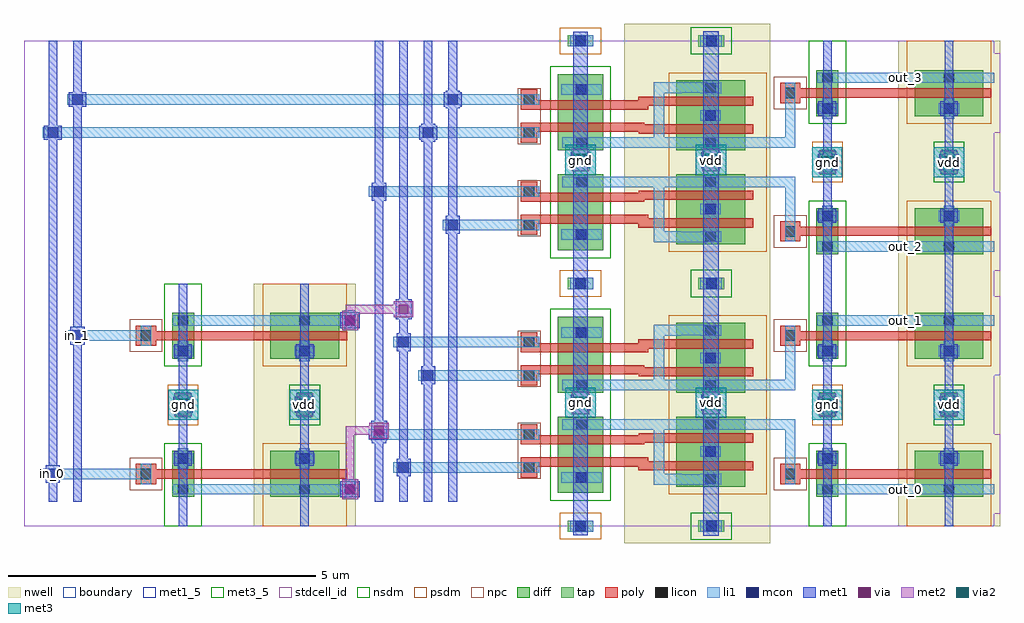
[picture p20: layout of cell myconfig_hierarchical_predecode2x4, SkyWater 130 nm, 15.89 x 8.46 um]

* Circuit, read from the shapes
.subckt myconfig_hierarchical_predecode2x4 gnd in_0 in_1 out_0 out_1 out_2 out_3 vdd
XM1 gnd in_0 myconfig_and2_dec_2/A gnd sky130_fd_pr__nfet_01v8 w=0.36 l=0.15
XM2 myconfig_and2_dec_2/B in_1 gnd gnd sky130_fd_pr__nfet_01v8 w=0.36 l=0.15
XM3 n1 myconfig_and2_dec_2/B gnd gnd sky130_fd_pr__nfet_01v8 w=0.74 l=0.15
XM4 myconfig_and2_dec_2/myconfig_pinv_dec_1/A myconfig_and2_dec_2/A n1 gnd sky130_fd_pr__nfet_01v8 w=0.74 l=0.15
XM5 n2 in_0 myconfig_and2_dec_3/myconfig_pinv_dec_1/A gnd sky130_fd_pr__nfet_01v8 w=0.74 l=0.15
XM6 gnd myconfig_and2_dec_2/B n2 gnd sky130_fd_pr__nfet_01v8 w=0.74 l=0.15
XM7 n3 in_1 gnd gnd sky130_fd_pr__nfet_01v8 w=0.74 l=0.15
XM8 myconfig_and2_dec_4/myconfig_pinv_dec_1/A myconfig_and2_dec_2/A n3 gnd sky130_fd_pr__nfet_01v8 w=0.74 l=0.15
XM9 n4 in_0 myconfig_and2_dec_5/myconfig_pinv_dec_1/A gnd sky130_fd_pr__nfet_01v8 w=0.74 l=0.15
XM10 gnd in_1 n4 gnd sky130_fd_pr__nfet_01v8 w=0.74 l=0.15
XM11 gnd myconfig_and2_dec_2/myconfig_pinv_dec_1/A out_0 gnd sky130_fd_pr__nfet_01v8 w=0.36 l=0.15
XM12 out_1 myconfig_and2_dec_3/myconfig_pinv_dec_1/A gnd gnd sky130_fd_pr__nfet_01v8 w=0.36 l=0.15
XM13 gnd myconfig_and2_dec_4/myconfig_pinv_dec_1/A out_2 gnd sky130_fd_pr__nfet_01v8 w=0.36 l=0.15
XM14 out_3 myconfig_and2_dec_5/myconfig_pinv_dec_1/A gnd gnd sky130_fd_pr__nfet_01v8 w=0.36 l=0.15
XM15 vdd in_0 myconfig_and2_dec_2/A vdd sky130_fd_pr__pfet_01v8 w=1.12 l=0.15
XM16 myconfig_and2_dec_2/B in_1 vdd vdd sky130_fd_pr__pfet_01v8 w=1.12 l=0.15
XM17 vdd myconfig_and2_dec_2/B myconfig_and2_dec_2/myconfig_pinv_dec_1/A vdd sky130_fd_pr__pfet_01v8 w=1.12 l=0.15
XM18 myconfig_and2_dec_2/myconfig_pinv_dec_1/A myconfig_and2_dec_2/A vdd vdd sky130_fd_pr__pfet_01v8 w=1.12 l=0.15
XM19 vdd in_0 myconfig_and2_dec_3/myconfig_pinv_dec_1/A vdd sky130_fd_pr__pfet_01v8 w=1.12 l=0.15
XM20 myconfig_and2_dec_3/myconfig_pinv_dec_1/A myconfig_and2_dec_2/B vdd vdd sky130_fd_pr__pfet_01v8 w=1.12 l=0.15
XM21 vdd in_1 myconfig_and2_dec_4/myconfig_pinv_dec_1/A vdd sky130_fd_pr__pfet_01v8 w=1.12 l=0.15
XM22 myconfig_and2_dec_4/myconfig_pinv_dec_1/A myconfig_and2_dec_2/A vdd vdd sky130_fd_pr__pfet_01v8 w=1.12 l=0.15
XM23 vdd in_0 myconfig_and2_dec_5/myconfig_pinv_dec_1/A vdd sky130_fd_pr__pfet_01v8 w=1.12 l=0.15
XM24 myconfig_and2_dec_5/myconfig_pinv_dec_1/A in_1 vdd vdd sky130_fd_pr__pfet_01v8 w=1.12 l=0.15
XM25 vdd myconfig_and2_dec_2/myconfig_pinv_dec_1/A out_0 vdd sky130_fd_pr__pfet_01v8 w=1.12 l=0.15
XM26 out_1 myconfig_and2_dec_3/myconfig_pinv_dec_1/A vdd vdd sky130_fd_pr__pfet_01v8 w=1.12 l=0.15
XM27 vdd myconfig_and2_dec_4/myconfig_pinv_dec_1/A out_2 vdd sky130_fd_pr__pfet_01v8 w=1.12 l=0.15
XM28 out_3 myconfig_and2_dec_5/myconfig_pinv_dec_1/A vdd vdd sky130_fd_pr__pfet_01v8 w=1.12 l=0.15
.ends

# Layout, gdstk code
from math import pi, radians
import gdstk
lib = gdstk.Library(unit=1e-6, precision=1e-09)
def R(c, l, rs):  # rectangles x0, y0, x1, y1
    for r in rs: c.add(gdstk.rectangle(r[:2], r[2:], *l))
def A(c, l, x, y, w, h, nx, ny, dx, dy):  # array of equal rectangles
    R(c, l, [(x+i*dx, y+j*dy, x+i*dx+w, y+j*dy+h) for i in range(nx) for j in range(ny)])
nwell = (64, 20)
diff = (65, 20)
tap = (65, 44)
poly = (66, 20)
licon = (66, 44)
li1 = (67, 20)
mcon = (67, 44)
met1_5 = (68, 5)
met1 = (68, 20)
via = (68, 44)
met2 = (69, 20)
via2 = (69, 44)
met3_5 = (70, 5)
met3 = (70, 20)
stdcell_id = (81, 4)
nsdm = (93, 44)
psdm = (94, 20)
npc = (95, 20)
boundary = (235, 4)

myconfig_contact_11 = lib.new_cell('myconfig_contact_11')
R(myconfig_contact_11, nwell, [(-0.295,-0.255,0.545,0.585)])
R(myconfig_contact_11, diff, [(0,0.02,0.25,0.31)])
R(myconfig_contact_11, licon, [(0.04,0.08,0.21,0.25)])
R(myconfig_contact_11, li1, [(0.04,0,0.21,0.33)])
R(myconfig_contact_11, stdcell_id, [(-0.295,-0.255,0.545,0.585)])
R(myconfig_contact_11, psdm, [(-0.125,-0.105,0.375,0.435)])
R(myconfig_contact_11, boundary, [(-0.295,-0.255,0.545,0.585)])

myconfig_pmos_m1_w1_120_ = lib.new_cell('myconfig_pmos_m1_w1_120_sli_dli_da_p')
R(myconfig_pmos_m1_w1_120_, nwell, [(-0.27,-0.27,1.02,1.39)])
R(myconfig_pmos_m1_w1_120_, diff, [(0,0,0.75,1.12)])
R(myconfig_pmos_m1_w1_120_, poly, [(0.3,-0.13,0.45,1.25), (0.3,-0.13,0.45,1.25)])
R(myconfig_pmos_m1_w1_120_, li1, [(0.04,0.395,0.21,0.725), (0.54,0.395,0.71,0.725)])
R(myconfig_pmos_m1_w1_120_, stdcell_id, [(-0.27,-0.27,1.02,1.39)])
R(myconfig_pmos_m1_w1_120_, psdm, [(-0.125,-0.125,0.875,1.245)])
R(myconfig_pmos_m1_w1_120_, boundary, [(-0.27,-0.27,1.02,1.39)])
myconfig_pmos_m1_w1_120_.add(gdstk.Reference(myconfig_contact_11, (0,0.395)))
myconfig_pmos_m1_w1_120_.add(gdstk.Reference(myconfig_contact_11, (0.5,0.395)))
myconfig_pmos_m1_w1_120_.add(gdstk.Label('G', (0.375,0.56), layer=66, texttype=5))
myconfig_pmos_m1_w1_120_.add(gdstk.Label('S', (0.125,0.56), layer=67, texttype=5))
myconfig_pmos_m1_w1_120_.add(gdstk.Label('D', (0.625,0.56), layer=67, texttype=5))

myconfig_contact_10 = lib.new_cell('myconfig_contact_10')
R(myconfig_contact_10, diff, [(0,0.02,0.25,0.31)])
R(myconfig_contact_10, licon, [(0.04,0.08,0.21,0.25)])
R(myconfig_contact_10, li1, [(0.04,0,0.21,0.33)])
R(myconfig_contact_10, stdcell_id, [(-0.125,-0.105,0.375,0.435)])
R(myconfig_contact_10, nsdm, [(-0.125,-0.105,0.375,0.435)])
R(myconfig_contact_10, boundary, [(-0.125,-0.105,0.375,0.435)])

myconfig_nmos_m1_w0_360_ = lib.new_cell('myconfig_nmos_m1_w0_360_sli_dli_da_p')
R(myconfig_nmos_m1_w0_360_, diff, [(0,0,0.75,0.36)])
R(myconfig_nmos_m1_w0_360_, poly, [(0.3,-0.13,0.45,0.49), (0.3,-0.13,0.45,0.49)])
R(myconfig_nmos_m1_w0_360_, li1, [(0.04,0.015,0.21,0.345), (0.54,0.015,0.71,0.345)])
R(myconfig_nmos_m1_w0_360_, stdcell_id, [(-0.125,-0.13,0.875,0.49)])
R(myconfig_nmos_m1_w0_360_, nsdm, [(-0.125,-0.125,0.875,0.485)])
R(myconfig_nmos_m1_w0_360_, boundary, [(-0.125,-0.13,0.875,0.49)])
myconfig_nmos_m1_w0_360_.add(gdstk.Reference(myconfig_contact_10, (0,0.015)))
myconfig_nmos_m1_w0_360_.add(gdstk.Reference(myconfig_contact_10, (0.5,0.015)))
myconfig_nmos_m1_w0_360_.add(gdstk.Label('G', (0.375,0.18), layer=66, texttype=5))
myconfig_nmos_m1_w0_360_.add(gdstk.Label('S', (0.125,0.18), layer=67, texttype=5))
myconfig_nmos_m1_w0_360_.add(gdstk.Label('D', (0.625,0.18), layer=67, texttype=5))

myconfig_contact_12 = lib.new_cell('myconfig_contact_12')
R(myconfig_contact_12, nwell, [(-0.295,-0.215,0.545,0.625)])
R(myconfig_contact_12, tap, [(0,0,0.25,0.41)])
R(myconfig_contact_12, licon, [(0.04,0.12,0.21,0.29)])
R(myconfig_contact_12, li1, [(0.04,0.04,0.21,0.37)])
R(myconfig_contact_12, stdcell_id, [(-0.295,-0.215,0.545,0.625)])
R(myconfig_contact_12, nsdm, [(-0.125,-0.125,0.375,0.535)])
R(myconfig_contact_12, boundary, [(-0.295,-0.215,0.545,0.625)])

myconfig_contact_13 = lib.new_cell('myconfig_contact_13')
R(myconfig_contact_13, li1, [(0.06,0,0.23,0.33)])
R(myconfig_contact_13, mcon, [(0.06,0.08,0.23,0.25)])
R(myconfig_contact_13, met1, [(0,0.05,0.29,0.28)])
R(myconfig_contact_13, stdcell_id, [(0,0,0.29,0.33)])
R(myconfig_contact_13, boundary, [(0,0,0.29,0.33)])

myconfig_contact_14 = lib.new_cell('myconfig_contact_14')
R(myconfig_contact_14, tap, [(0,0,0.25,0.41)])
R(myconfig_contact_14, licon, [(0.04,0.12,0.21,0.29)])
R(myconfig_contact_14, li1, [(0.04,0.04,0.21,0.37)])
R(myconfig_contact_14, stdcell_id, [(-0.125,-0.125,0.375,0.535)])
R(myconfig_contact_14, psdm, [(-0.125,-0.125,0.375,0.535)])
R(myconfig_contact_14, boundary, [(-0.125,-0.125,0.375,0.535)])

myconfig_contact_15 = lib.new_cell('myconfig_contact_15')
R(myconfig_contact_15, poly, [(0,0,0.33,0.33)])
R(myconfig_contact_15, licon, [(0.08,0.08,0.25,0.25)])
R(myconfig_contact_15, li1, [(0.08,0,0.25,0.33)])
R(myconfig_contact_15, stdcell_id, [(-0.1,-0.1,0.43,0.43)])
R(myconfig_contact_15, npc, [(-0.1,-0.1,0.43,0.43)])
R(myconfig_contact_15, boundary, [(-0.1,-0.1,0.43,0.43)])

myconfig_pinv_dec = lib.new_cell('myconfig_pinv_dec')
R(myconfig_pinv_dec, nwell, [(2.14,0,3.8,2.45)])
R(myconfig_pinv_dec, poly, [(0.385,0.775,0.68,0.925), (1.3,0.775,2.28,0.925)])
R(myconfig_pinv_dec, li1, [(0.825,0.515,3.71,0.685), (0.3,0.685,0.47,1.015)])
R(myconfig_pinv_dec, met1_5, [(0.92,0,1.06,1.975), (2.9,0,3.04,1.975)])
R(myconfig_pinv_dec, met1, [(0.92,0,1.06,1.975), (2.9,0,3.04,1.975)])
R(myconfig_pinv_dec, stdcell_id, [(0,0,3.71,1.975), (0,0,3.71,1.975)])
R(myconfig_pinv_dec, nsdm, [(0.685,0,1.295,1.225)])
R(myconfig_pinv_dec, psdm, [(2.285,0,3.655,1.225)])
R(myconfig_pinv_dec, boundary, [(0,0,3.71,1.975), (0,0,3.71,1.975)])
myconfig_pinv_dec.add(gdstk.Reference(myconfig_pmos_m1_w1_120_, (2.41,1.225), rotation=3*pi/2))
myconfig_pinv_dec.add(gdstk.Reference(myconfig_nmos_m1_w0_360_, (0.81,1.225), rotation=3*pi/2))
myconfig_pinv_dec.add(gdstk.Reference(myconfig_contact_12, (2.845,1.77)))
myconfig_pinv_dec.add(gdstk.Reference(myconfig_contact_13, (2.825,1.81)))
myconfig_pinv_dec.add(gdstk.Reference(myconfig_contact_14, (0.865,1.77)))
myconfig_pinv_dec.add(gdstk.Reference(myconfig_contact_13, (0.845,1.81)))
myconfig_pinv_dec.add(gdstk.Reference(myconfig_contact_15, (0.22,0.685)))
myconfig_pinv_dec.add(gdstk.Reference(myconfig_contact_13, (0.845,0.935)))
myconfig_pinv_dec.add(gdstk.Reference(myconfig_contact_13, (2.825,0.935)))
myconfig_pinv_dec.add(gdstk.Label('A', (0.385,0.85), layer=67, texttype=5))
myconfig_pinv_dec.add(gdstk.Label('Z', (2.268,0.6), layer=67, texttype=5))
myconfig_pinv_dec.add(gdstk.Label('gnd', (0.99,0.988), layer=68, texttype=5))
myconfig_pinv_dec.add(gdstk.Label('vdd', (2.97,0.988), layer=68, texttype=5))

sky130_fd_bd_sram__openr = lib.new_cell('sky130_fd_bd_sram__openram_dp_nand2_dec')
R(sky130_fd_bd_sram__openr, nwell, [(2.06,-0.28,4.44,2.38)])
R(sky130_fd_bd_sram__openr, diff, [(0.98,0.54,1.72,1.78), (2.91,0.64,4.03,1.78)])
R(sky130_fd_bd_sram__openr, tap, [(3.27,-0.095,3.69,0.095), (1.14,-0.09,1.56,0.09)])
R(sky130_fd_bd_sram__openr, poly, [(0.38,0.79,0.65,0.97), (2.29,0.91,4.16,0.97), (0.38,0.97,4.16,1.06), (0.38,1.06,2.45,1.12), (0.38,1.33,2.39,1.36), (0.38,1.36,4.16,1.48), (0.38,1.48,0.65,1.66), (2.3,1.48,4.16,1.51)])
R(sky130_fd_bd_sram__openr, licon, [(1.265,-0.085,1.435,0.085), (3.395,-0.085,3.565,0.085), (3.385,0.68,3.555,0.85), (1.295,0.71,1.465,0.88), (0.43,0.87,0.6,1.04), (3.385,1.13,3.555,1.3), (0.43,1.41,0.6,1.58), (1.285,1.57,1.455,1.74), (3.385,1.57,3.555,1.74)])
R(sky130_fd_bd_sram__openr, li1, [(3.3,-0.095,3.65,0.095), (1.18,-0.09,1.56,0.09), (2.545,0.67,2.86,0.675), (2.545,0.675,3.425,0.68), (2.545,0.68,3.64,0.845), (1.04,0.71,1.7,0.88), (2.545,0.845,2.99,0.85), (3.3,0.845,3.64,0.85), (2.545,0.85,2.715,1.57), (0.35,0.87,0.68,1.04), (0.35,0.87,0.68,1.04), (3.3,1.13,3.635,1.3), (0.35,1.41,0.68,1.58), (0.35,1.41,0.68,1.58), (1.05,1.57,4.44,1.74), (1.05,1.57,4.44,1.74)])
R(sky130_fd_bd_sram__openr, mcon, [(1.265,-0.085,1.435,0.085), (3.395,-0.085,3.565,0.085), (1.27,0.71,1.44,0.88), (3.385,1.13,3.555,1.3)])
R(sky130_fd_bd_sram__openr, met1_5, [(3.35,-0.16,3.6,2.01), (1.23,-0.15,1.47,2.01)])
R(sky130_fd_bd_sram__openr, met1, [(3.35,-0.16,3.6,2.01), (3.35,-0.16,3.6,2.01), (1.23,-0.15,1.47,2.01), (1.23,-0.15,1.47,2.01)])
R(sky130_fd_bd_sram__openr, nsdm, [(3.145,-0.22,3.815,0.22), (0.855,0.415,1.845,1.975)])
R(sky130_fd_bd_sram__openr, psdm, [(1.015,-0.215,1.685,0.215), (2.785,0.515,4.38,1.975)])
R(sky130_fd_bd_sram__openr, npc, [(0.33,0.77,0.7,1.68)])
R(sky130_fd_bd_sram__openr, boundary, [(0,0,4.38,1.975)])
sky130_fd_bd_sram__openr.add(gdstk.Label('GND', (1.34,0.41), layer=68, texttype=16))
sky130_fd_bd_sram__openr.add(gdstk.Label('VDD', (3.48,0.47), layer=68, texttype=16))
sky130_fd_bd_sram__openr.add(gdstk.Label('B', (0.515,0.955), layer=67, texttype=16))
sky130_fd_bd_sram__openr.add(gdstk.Label('A', (0.515,1.495), layer=67, texttype=16))
sky130_fd_bd_sram__openr.add(gdstk.Label('Z', (4.27,1.655), layer=67, texttype=16))
sky130_fd_bd_sram__openr.add(gdstk.Label('A', (0.515,1.495), layer=67, texttype=5))
sky130_fd_bd_sram__openr.add(gdstk.Label('B', (0.515,0.955), layer=67, texttype=5))
sky130_fd_bd_sram__openr.add(gdstk.Label('Z', (2.745,1.655), layer=67, texttype=5))
sky130_fd_bd_sram__openr.add(gdstk.Label('vdd', (3.475,0.925), layer=68, texttype=5))
sky130_fd_bd_sram__openr.add(gdstk.Label('gnd', (1.35,0.93), layer=68, texttype=5))

myconfig_and2_dec = lib.new_cell('myconfig_and2_dec')
R(myconfig_and2_dec, li1, [(5.205,0.515,8.09,0.685), (4.68,0.85,4.85,1.655), (0.35,0.87,0.68,1.04), (0.35,1.41,0.68,1.58), (2.745,1.57,4.765,1.74), (4.68,1.57,4.85,1.74)])
R(myconfig_and2_dec, met1_5, [(3.35,-0.16,3.6,2.01), (1.23,-0.15,1.47,2.01), (5.3,0,5.44,1.975), (7.28,0,7.42,1.975)])
R(myconfig_and2_dec, met1, [(3.35,-0.16,3.6,2.01), (1.23,-0.15,1.47,2.01), (5.3,0,5.44,1.975), (7.28,0,7.42,1.975)])
R(myconfig_and2_dec, stdcell_id, [(0,0,8.09,1.975)])
R(myconfig_and2_dec, boundary, [(0,0,8.09,1.975)])
myconfig_and2_dec.add(gdstk.Reference(sky130_fd_bd_sram__openr, (0,0)))
myconfig_and2_dec.add(gdstk.Reference(myconfig_pinv_dec, (4.38,0)))
myconfig_and2_dec.add(gdstk.Label('Z', (6.648,0.6), layer=67, texttype=5))
myconfig_and2_dec.add(gdstk.Label('A', (0.515,1.495), layer=67, texttype=5))
myconfig_and2_dec.add(gdstk.Label('B', (0.515,0.955), layer=67, texttype=5))
myconfig_and2_dec.add(gdstk.Label('vdd', (3.475,0.925), layer=68, texttype=5))
myconfig_and2_dec.add(gdstk.Label('vdd', (7.35,0.988), layer=68, texttype=5))
myconfig_and2_dec.add(gdstk.Label('gnd', (5.37,0.988), layer=68, texttype=5))
myconfig_and2_dec.add(gdstk.Label('gnd', (1.35,0.93), layer=68, texttype=5))

myconfig_contact_16 = lib.new_cell('myconfig_contact_16')
R(myconfig_contact_16, li1, [(0,0.06,0.33,0.23)])
R(myconfig_contact_16, mcon, [(0.08,0.06,0.25,0.23)])
R(myconfig_contact_16, met1, [(0.05,0,0.28,0.29)])
R(myconfig_contact_16, stdcell_id, [(0,0,0.33,0.29)])
R(myconfig_contact_16, boundary, [(0,0,0.33,0.29)])

myconfig_contact_18 = lib.new_cell('myconfig_contact_18')
R(myconfig_contact_18, met1, [(0,0.03,0.32,0.29)])
R(myconfig_contact_18, via, [(0.085,0.085,0.235,0.235)])
R(myconfig_contact_18, met2, [(0.03,0,0.29,0.32)])
R(myconfig_contact_18, stdcell_id, [(0,0,0.32,0.32)])
R(myconfig_contact_18, boundary, [(0,0,0.32,0.32)])

myconfig_contact_19 = lib.new_cell('myconfig_contact_19')
R(myconfig_contact_19, met1, [(0.03,0,0.29,0.32)])
R(myconfig_contact_19, via, [(0.085,0.085,0.235,0.235)])
R(myconfig_contact_19, met2, [(0,0.03,0.32,0.29)])
R(myconfig_contact_19, stdcell_id, [(0,0,0.32,0.32)])
R(myconfig_contact_19, boundary, [(0,0,0.32,0.32)])

myconfig_contact_20 = lib.new_cell('myconfig_contact_20')
R(myconfig_contact_20, li1, [(0,0.03,0.33,0.2)])
R(myconfig_contact_20, mcon, [(0.08,0.03,0.25,0.2)])
R(myconfig_contact_20, met1, [(0.02,0,0.31,0.23)])
R(myconfig_contact_20, stdcell_id, [(0,0,0.33,0.23)])
R(myconfig_contact_20, boundary, [(0,0,0.33,0.23)])

myconfig_contact_21 = lib.new_cell('myconfig_contact_21')
R(myconfig_contact_21, met2, [(0.025,0,0.305,0.37)])
R(myconfig_contact_21, via2, [(0.065,0.085,0.265,0.285)])
R(myconfig_contact_21, met3, [(0,0.02,0.33,0.35)])
R(myconfig_contact_21, stdcell_id, [(0,0,0.33,0.37)])
R(myconfig_contact_21, boundary, [(0,0,0.33,0.37)])

myconfig_hierarchical_pr = lib.new_cell('myconfig_hierarchical_predecode2x4')
R(myconfig_hierarchical_pr, li1, [(12.915,0.515,15.8,0.685), (0.47,0.765,1.985,0.935), (1.9,0.765,2.07,0.935), (6.18,0.87,8.225,1.04), (8.14,0.87,8.31,1.04), (5.78,1.41,8.225,1.58), (8.14,1.41,8.31,1.58), (6.58,2.37,8.225,2.54), (8.14,2.37,8.31,2.54), (6.18,2.91,8.225,3.08), (8.14,2.91,8.31,3.08), (0.87,3.015,1.985,3.185), (1.9,3.015,2.07,3.185), (12.915,3.265,15.8,3.435), (12.915,4.465,15.8,4.635), (6.98,4.82,8.225,4.99), (8.14,4.82,8.31,4.99), (5.78,5.36,8.225,5.53), (8.14,5.36,8.31,5.53), (0.47,6.32,6.58,6.49), (6.58,6.32,8.225,6.49), (8.14,6.32,8.31,6.49), (0.87,6.86,6.98,7.03), (6.98,6.86,8.225,7.03), (8.14,6.86,8.31,7.03), (12.915,7.215,15.8,7.385)])
R(myconfig_hierarchical_pr, met1_5, [(0.355,0.705,0.585,0.995), (0.755,2.955,0.985,3.245)])
A(myconfig_hierarchical_pr, met1, 5.71, 0.4, 0.14, 7.5, 4, 1, 0.4, 0)
R(myconfig_hierarchical_pr, met1, [(0.4,0.4,0.54,7.9), (0.8,0.4,0.94,7.9), (2.52,0.4,2.66,3.95), (4.5,0.4,4.64,3.95), (8.94,0.4,9.18,8.05), (11.06,0.4,11.31,8.06), (13.01,0.4,13.15,7.9), (14.99,0.4,15.13,7.9), (5.15,0.47,5.47,0.73), (0.355,0.705,0.585,0.995), (2.43,1.845,2.75,2.105), (2.43,1.845,2.75,2.105), (4.41,1.845,4.73,2.105), (4.41,1.845,4.73,2.105), (12.92,1.845,13.24,2.105), (14.9,1.845,15.22,2.105), (8.9,1.88,9.22,2.14), (11.025,1.88,11.345,2.14), (0.755,2.955,0.985,3.245), (5.15,3.22,5.47,3.48), (12.92,5.795,13.24,6.055), (14.9,5.795,15.22,6.055), (8.9,5.83,9.22,6.09), (11.025,5.83,11.345,6.09)])
R(myconfig_hierarchical_pr, met2, [(5.24,0.6,5.38,1.555), (5.24,1.485,5.38,1.625), (5.31,1.485,5.78,1.625), (2.45,1.855,2.73,2.095), (2.45,1.855,2.73,2.095), (4.43,1.855,4.71,2.095), (4.43,1.855,4.71,2.095), (12.94,1.855,13.22,2.095), (14.92,1.855,15.2,2.095), (8.92,1.89,9.2,2.13), (11.045,1.89,11.325,2.13), (5.24,3.35,5.38,3.53), (5.24,3.46,5.38,3.6), (5.31,3.46,6.18,3.6), (12.94,5.805,13.22,6.045), (14.92,5.805,15.2,6.045), (8.92,5.84,9.2,6.08), (11.045,5.84,11.325,6.08)])
R(myconfig_hierarchical_pr, met3_5, [(2.345,1.73,2.835,2.22), (4.325,1.73,4.815,2.22), (12.835,1.73,13.325,2.22), (14.815,1.73,15.305,2.22), (8.815,1.765,9.305,2.255), (10.94,1.765,11.43,2.255), (12.835,5.68,13.325,6.17), (14.815,5.68,15.305,6.17), (8.815,5.715,9.305,6.205), (10.94,5.715,11.43,6.205)])
R(myconfig_hierarchical_pr, met3, [(2.345,1.73,2.835,2.22), (4.325,1.73,4.815,2.22), (12.835,1.73,13.325,2.22), (14.815,1.73,15.305,2.22), (8.815,1.765,9.305,2.255), (10.94,1.765,11.43,2.255), (12.835,5.68,13.325,6.17), (14.815,5.68,15.305,6.17), (8.815,5.715,9.305,6.205), (10.94,5.715,11.43,6.205)])
R(myconfig_hierarchical_pr, stdcell_id, [(0,0,15.8,7.9)])
R(myconfig_hierarchical_pr, boundary, [(0,0,15.8,7.9)])
myconfig_hierarchical_pr.add(gdstk.Reference(myconfig_pinv_dec, (1.6,0)))
myconfig_hierarchical_pr.add(gdstk.Reference(myconfig_pinv_dec, (1.6,3.95), x_reflection=True))
myconfig_hierarchical_pr.add(gdstk.Reference(myconfig_and2_dec, (7.71,0)))
myconfig_hierarchical_pr.add(gdstk.Reference(myconfig_and2_dec, (7.71,3.95), x_reflection=True))
myconfig_hierarchical_pr.add(gdstk.Reference(myconfig_and2_dec, (7.71,3.95)))
myconfig_hierarchical_pr.add(gdstk.Reference(myconfig_and2_dec, (7.71,7.9), x_reflection=True))
myconfig_hierarchical_pr.add(gdstk.Reference(myconfig_contact_16, (0.305,0.705)))
myconfig_hierarchical_pr.add(gdstk.Reference(myconfig_contact_16, (0.705,2.955)))
myconfig_hierarchical_pr.add(gdstk.Reference(myconfig_contact_16, (5.615,1.35)))
myconfig_hierarchical_pr.add(gdstk.Reference(myconfig_contact_16, (6.015,0.81)))
myconfig_hierarchical_pr.add(gdstk.Reference(myconfig_contact_16, (6.415,2.31)))
myconfig_hierarchical_pr.add(gdstk.Reference(myconfig_contact_16, (6.015,2.85)))
myconfig_hierarchical_pr.add(gdstk.Reference(myconfig_contact_16, (5.615,5.3)))
myconfig_hierarchical_pr.add(gdstk.Reference(myconfig_contact_16, (6.815,4.76)))
myconfig_hierarchical_pr.add(gdstk.Reference(myconfig_contact_16, (6.415,6.26)))
myconfig_hierarchical_pr.add(gdstk.Reference(myconfig_contact_16, (6.815,6.8)))
myconfig_hierarchical_pr.add(gdstk.Reference(myconfig_contact_13, (5.165,0.435)))
myconfig_hierarchical_pr.add(gdstk.Reference(myconfig_contact_18, (5.15,0.44)))
myconfig_hierarchical_pr.add(gdstk.Reference(myconfig_contact_19, (5.62,1.395)))
myconfig_hierarchical_pr.add(gdstk.Reference(myconfig_contact_13, (5.165,3.185)))
myconfig_hierarchical_pr.add(gdstk.Reference(myconfig_contact_18, (5.15,3.19)))
myconfig_hierarchical_pr.add(gdstk.Reference(myconfig_contact_19, (6.02,3.37)))
myconfig_hierarchical_pr.add(gdstk.Reference(myconfig_contact_20, (0.305,6.29)))
myconfig_hierarchical_pr.add(gdstk.Reference(myconfig_contact_20, (6.415,6.29)))
myconfig_hierarchical_pr.add(gdstk.Reference(myconfig_contact_20, (0.705,6.83)))
myconfig_hierarchical_pr.add(gdstk.Reference(myconfig_contact_20, (6.815,6.83)))
myconfig_hierarchical_pr.add(gdstk.Reference(myconfig_contact_18, (4.41,1.815)))
myconfig_hierarchical_pr.add(gdstk.Reference(myconfig_contact_21, (4.405,1.79)))
myconfig_hierarchical_pr.add(gdstk.Reference(myconfig_contact_18, (4.41,1.815)))
myconfig_hierarchical_pr.add(gdstk.Reference(myconfig_contact_21, (4.405,1.79)))
myconfig_hierarchical_pr.add(gdstk.Reference(myconfig_contact_18, (11.025,1.85)))
myconfig_hierarchical_pr.add(gdstk.Reference(myconfig_contact_21, (11.02,1.825)))
myconfig_hierarchical_pr.add(gdstk.Reference(myconfig_contact_18, (14.9,1.815)))
myconfig_hierarchical_pr.add(gdstk.Reference(myconfig_contact_21, (14.895,1.79)))
myconfig_hierarchical_pr.add(gdstk.Reference(myconfig_contact_18, (11.025,5.8)))
myconfig_hierarchical_pr.add(gdstk.Reference(myconfig_contact_21, (11.02,5.775)))
myconfig_hierarchical_pr.add(gdstk.Reference(myconfig_contact_18, (14.9,5.765)))
myconfig_hierarchical_pr.add(gdstk.Reference(myconfig_contact_21, (14.895,5.74)))
myconfig_hierarchical_pr.add(gdstk.Reference(myconfig_contact_18, (2.43,1.815)))
myconfig_hierarchical_pr.add(gdstk.Reference(myconfig_contact_21, (2.425,1.79)))
myconfig_hierarchical_pr.add(gdstk.Reference(myconfig_contact_18, (2.43,1.815)))
myconfig_hierarchical_pr.add(gdstk.Reference(myconfig_contact_21, (2.425,1.79)))
myconfig_hierarchical_pr.add(gdstk.Reference(myconfig_contact_18, (12.92,1.815)))
myconfig_hierarchical_pr.add(gdstk.Reference(myconfig_contact_21, (12.915,1.79)))
myconfig_hierarchical_pr.add(gdstk.Reference(myconfig_contact_18, (8.9,1.85)))
myconfig_hierarchical_pr.add(gdstk.Reference(myconfig_contact_21, (8.895,1.825)))
myconfig_hierarchical_pr.add(gdstk.Reference(myconfig_contact_18, (12.92,5.765)))
myconfig_hierarchical_pr.add(gdstk.Reference(myconfig_contact_21, (12.915,5.74)))
myconfig_hierarchical_pr.add(gdstk.Reference(myconfig_contact_18, (8.9,5.8)))
myconfig_hierarchical_pr.add(gdstk.Reference(myconfig_contact_21, (8.895,5.775)))
myconfig_hierarchical_pr.add(gdstk.Label('in_0', (0.47,0.85), layer=68, texttype=5))
myconfig_hierarchical_pr.add(gdstk.Label('in_1', (0.87,3.1), layer=68, texttype=5))
myconfig_hierarchical_pr.add(gdstk.Label('out_0', (14.358,0.6), layer=67, texttype=5))
myconfig_hierarchical_pr.add(gdstk.Label('out_1', (14.358,3.35), layer=67, texttype=5))
myconfig_hierarchical_pr.add(gdstk.Label('out_2', (14.358,4.55), layer=67, texttype=5))
myconfig_hierarchical_pr.add(gdstk.Label('out_3', (14.358,7.3), layer=67, texttype=5))
myconfig_hierarchical_pr.add(gdstk.Label('vdd', (4.57,1.975), layer=70, texttype=5))
myconfig_hierarchical_pr.add(gdstk.Label('vdd', (15.06,1.975), layer=70, texttype=5))
myconfig_hierarchical_pr.add(gdstk.Label('vdd', (15.06,5.925), layer=70, texttype=5))
myconfig_hierarchical_pr.add(gdstk.Label('vdd', (11.185,2.01), layer=70, texttype=5))
myconfig_hierarchical_pr.add(gdstk.Label('vdd', (11.185,5.96), layer=70, texttype=5))
myconfig_hierarchical_pr.add(gdstk.Label('gnd', (9.06,2.01), layer=70, texttype=5))
myconfig_hierarchical_pr.add(gdstk.Label('gnd', (13.08,1.975), layer=70, texttype=5))
myconfig_hierarchical_pr.add(gdstk.Label('gnd', (9.06,5.96), layer=70, texttype=5))
myconfig_hierarchical_pr.add(gdstk.Label('gnd', (2.59,1.975), layer=70, texttype=5))
myconfig_hierarchical_pr.add(gdstk.Label('gnd', (13.08,5.925), layer=70, texttype=5))

lib.write_gds('myconfig_hierarchical_predecode2x4.gds')
